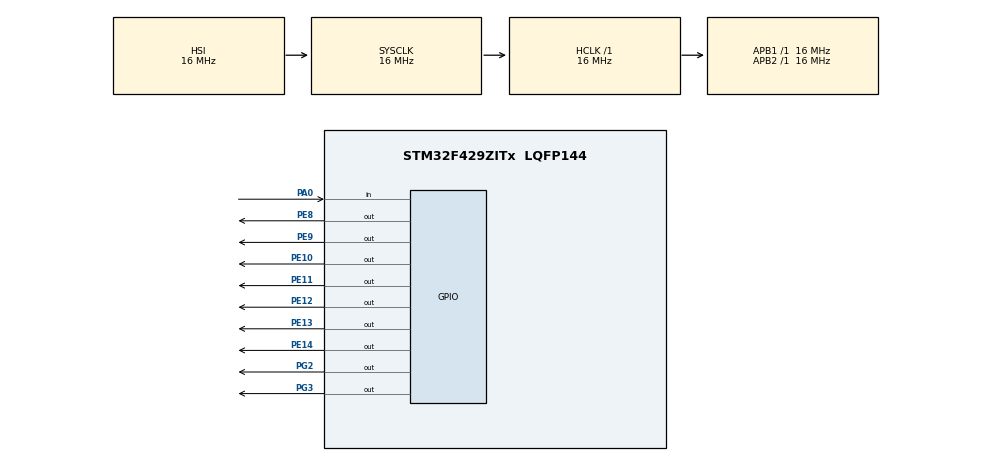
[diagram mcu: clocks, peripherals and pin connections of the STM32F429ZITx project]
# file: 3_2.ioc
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Mcu.Family=STM32F4
Mcu.Name=STM32F429ZITx
Mcu.Package=LQFP144
NVIC.PriorityGroup=NVIC_PRIORITYGROUP_4
PA0/WKUP.GPIO_PuPd=GPIO_NOPULL
PA0/WKUP.Signal=GPIO_Input
PE10.Signal=GPIO_Output
PE11.Signal=GPIO_Output
PE12.Signal=GPIO_Output
PE13.Signal=GPIO_Output
PE14.Signal=GPIO_Output
PE8.Signal=GPIO_Output
PE9.Signal=GPIO_Output
PG2.Signal=GPIO_Output
PG3.Signal=GPIO_Output
ProjectManager.HeapSize=0x200
ProjectManager.StackSize=0x400
ProjectManager.TargetToolchain=STM32CubeIDE
RCC.AHBFreq_Value=16000000
RCC.APB1Freq_Value=16000000
RCC.APB2Freq_Value=16000000
RCC.CortexFreq_Value=16000000
RCC.HSE_VALUE=25000000
RCC.HSI_VALUE=16000000
RCC.LSE_VALUE=32768
RCC.SYSCLKFreq_VALUE=16000000
RCC.VCOOutputFreq_Value=192000000
board=custom

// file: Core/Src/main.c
/* USER CODE BEGIN Header */
/**
  ******************************************************************************
  * @file           : main.c
  * @brief          : Main program body
  ******************************************************************************
  * @attention
  *
  * Copyright (c) 2025 STMicroelectronics.
  * All rights reserved.
  *
  * This software is licensed under terms that can be found in the LICENSE file
  * in the root directory of this software component.
  * If no LICENSE file comes with this software, it is provided AS-IS.
  *
  ******************************************************************************
  */
/* USER CODE END Header */
#include "main.h"

/* USER CODE BEGIN PD */
#define LED1_PIN GPIO_PIN_2
#define LED2_PIN GPIO_PIN_3
#define LED_PORT GPIOG
/* USER CODE END PD */

void SystemClock_Config(void);
static void MX_GPIO_Init(void);
/* USER CODE BEGIN PFP */

int value = 0, chuc = 0, donvi = 0, onTap = 0;
/* USER CODE END PFP */

int main(void)
{

  /* MCU Configuration--------------------------------------------------------*/

  /* Reset of all peripherals, Initializes the Flash interface and the Systick. */
  HAL_Init();

  /* Configure the system clock */
  SystemClock_Config();

  /* Initialize all configured peripherals */
  MX_GPIO_Init();
  /* USER CODE BEGIN 2 */
  int value = 0;
  int onTap = 0;
  /* USER CODE END 2 */

  /* Infinite loop */
  /* USER CODE BEGIN WHILE */
  while (1)
  {
    // Handle button press
    if(HAL_GPIO_ReadPin(GPIOA, GPIO_PIN_0) == GPIO_PIN_SET && onTap == 0) {
      if(value == 99) {
        value = 0;
      } else {
        value += 1;
      }
      Set7SegDisplayValue(value);
      onTap = 1;
    }

    if(HAL_GPIO_ReadPin(GPIOA, GPIO_PIN_0) == GPIO_PIN_RESET) {
      onTap = 0;
    }

    // Run 7-segment display
    Run7SegDisplay();
    HAL_Delay(10);

    /* USER CODE END WHILE */

  }
}

void SystemClock_Config(void)
{
  RCC_OscInitTypeDef RCC_OscInitStruct = {0};
  RCC_ClkInitTypeDef RCC_ClkInitStruct = {0};

  /** Configure the main internal regulator output voltage
  */
  __HAL_RCC_PWR_CLK_ENABLE();
  __HAL_PWR_VOLTAGESCALING_CONFIG(PWR_REGULATOR_VOLTAGE_SCALE3);

  /** Initializes the RCC Oscillators according to the specified parameters
  * in the RCC_OscInitTypeDef structure.
  */
  RCC_OscInitStruct.OscillatorType = RCC_OSCILLATORTYPE_HSI;
  RCC_OscInitStruct.HSIState = RCC_HSI_ON;
  RCC_OscInitStruct.HSICalibrationValue = RCC_HSICALIBRATION_DEFAULT;
  RCC_OscInitStruct.PLL.PLLState = RCC_PLL_NONE;
  if (HAL_RCC_OscConfig(&RCC_OscInitStruct) != HAL_OK)
  {
    Error_Handler();
  }

  /** Initializes the CPU, AHB and APB buses clocks
  */
  RCC_ClkInitStruct.ClockType = RCC_CLOCKTYPE_HCLK|RCC_CLOCKTYPE_SYSCLK
                              |RCC_CLOCKTYPE_PCLK1|RCC_CLOCKTYPE_PCLK2;
  RCC_ClkInitStruct.SYSCLKSource = RCC_SYSCLKSOURCE_HSI;
  RCC_ClkInitStruct.AHBCLKDivider = RCC_SYSCLK_DIV1;
  RCC_ClkInitStruct.APB1CLKDivider = RCC_HCLK_DIV1;
  RCC_ClkInitStruct.APB2CLKDivider = RCC_HCLK_DIV1;

  if (HAL_RCC_ClockConfig(&RCC_ClkInitStruct, FLASH_LATENCY_0) != HAL_OK)
  {
    Error_Handler();
  }
}

static void MX_GPIO_Init(void)
{
  GPIO_InitTypeDef GPIO_InitStruct = {0};

  /* GPIO Ports Clock Enable */
  __HAL_RCC_GPIOA_CLK_ENABLE();
  __HAL_RCC_GPIOE_CLK_ENABLE();
  __HAL_RCC_GPIOG_CLK_ENABLE();

  /*Configure GPIO pin Output Level */
  HAL_GPIO_WritePin(GPIOE, GPIO_PIN_8|GPIO_PIN_9|GPIO_PIN_10|GPIO_PIN_11
                          |GPIO_PIN_12|GPIO_PIN_13|GPIO_PIN_14, GPIO_PIN_RESET);

  /*Configure GPIO pin Output Level */
  HAL_GPIO_WritePin(GPIOG, GPIO_PIN_2|GPIO_PIN_3, GPIO_PIN_RESET);

  /*Configure GPIO pin : PA0 */
  GPIO_InitStruct.Pin = GPIO_PIN_0;
  GPIO_InitStruct.Mode = GPIO_MODE_INPUT;
  GPIO_InitStruct.Pull = GPIO_NOPULL;
  HAL_GPIO_Init(GPIOA, &GPIO_InitStruct);

  /*Configure GPIO pins : PE8 PE9 PE10 PE11
                           PE12 PE13 PE14 */
  GPIO_InitStruct.Pin = GPIO_PIN_8|GPIO_PIN_9|GPIO_PIN_10|GPIO_PIN_11
                          |GPIO_PIN_12|GPIO_PIN_13|GPIO_PIN_14;
  GPIO_InitStruct.Mode = GPIO_MODE_OUTPUT_PP;
  GPIO_InitStruct.Pull = GPIO_NOPULL;
  GPIO_InitStruct.Speed = GPIO_SPEED_FREQ_LOW;
  HAL_GPIO_Init(GPIOE, &GPIO_InitStruct);

  /*Configure GPIO pins : PG2 PG3 */
  GPIO_InitStruct.Pin = GPIO_PIN_2|GPIO_PIN_3;
  GPIO_InitStruct.Mode = GPIO_MODE_OUTPUT_PP;
  GPIO_InitStruct.Pull = GPIO_NOPULL;
  GPIO_InitStruct.Speed = GPIO_SPEED_FREQ_LOW;
  HAL_GPIO_Init(GPIOG, &GPIO_InitStruct);

}

void Error_Handler(void)
{
  __disable_irq();
  while (1)
  {
  }
}
